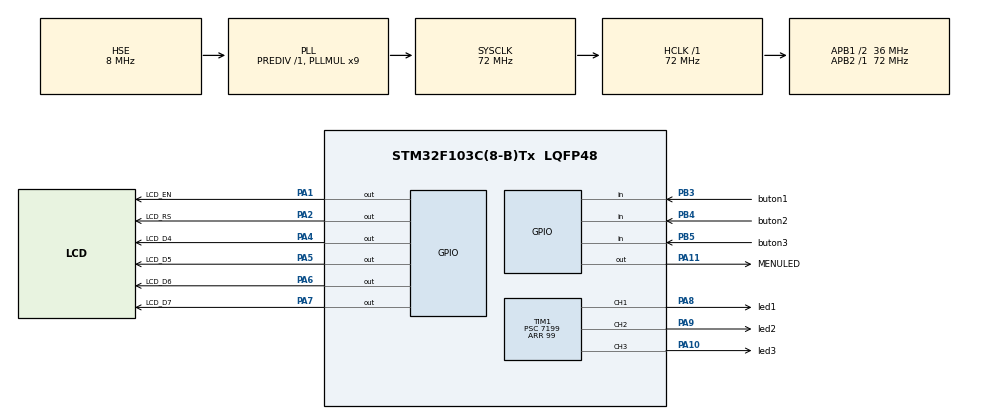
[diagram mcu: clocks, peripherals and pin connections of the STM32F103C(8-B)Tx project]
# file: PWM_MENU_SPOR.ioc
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Mcu.Family=STM32F1
Mcu.Name=STM32F103C(8-B)Tx
Mcu.Package=LQFP48
NVIC.PriorityGroup=NVIC_PRIORITYGROUP_4
PA1.GPIO_Label=LCD_EN
PA1.Signal=GPIO_Output
PA10.GPIO_Label=led3
PA10.Signal=S_TIM1_CH3
PA11.GPIO_Label=MENULED
PA11.Signal=GPIO_Output
PA13.Mode=Serial_Wire
PA13.Signal=SYS_JTMS-SWDIO
PA14.Mode=Serial_Wire
PA14.Signal=SYS_JTCK-SWCLK
PA2.GPIO_Label=LCD_RS
PA2.Signal=GPIO_Output
PA4.GPIO_Label=LCD_D4
PA4.Signal=GPIO_Output
PA5.GPIO_Label=LCD_D5
PA5.Signal=GPIO_Output
PA6.GPIO_Label=LCD_D6
PA6.Signal=GPIO_Output
PA7.GPIO_Label=LCD_D7
PA7.Signal=GPIO_Output
PA8.GPIO_Label=led1
PA8.Signal=S_TIM1_CH1
PA9.GPIO_Label=led2
PA9.Signal=S_TIM1_CH2
PB3.GPIO_Label=buton1
PB3.GPIO_PuPd=GPIO_PULLDOWN
PB3.Signal=GPIO_Input
PB4.GPIO_Label=buton2
PB4.GPIO_PuPd=GPIO_PULLDOWN
PB4.Signal=GPIO_Input
PB5.GPIO_Label=buton3
PB5.GPIO_PuPd=GPIO_PULLDOWN
PB5.Signal=GPIO_Input
PC14-OSC32_IN.Mode=LSE-External-Oscillator
PC14-OSC32_IN.Signal=RCC_OSC32_IN
PC15-OSC32_OUT.Mode=LSE-External-Oscillator
PC15-OSC32_OUT.Signal=RCC_OSC32_OUT
PD0-OSC_IN.Mode=HSE-External-Oscillator
PD0-OSC_IN.Signal=RCC_OSC_IN
PD1-OSC_OUT.Mode=HSE-External-Oscillator
PD1-OSC_OUT.Signal=RCC_OSC_OUT
ProjectManager.HeapSize=0x200
ProjectManager.StackSize=0x400
ProjectManager.TargetToolchain=STM32CubeIDE
RCC.AHBFreq_Value=72000000
RCC.APB1CLKDivider=RCC_HCLK_DIV2
RCC.APB1Freq_Value=36000000
RCC.APB1TimFreq_Value=72000000
RCC.APB2Freq_Value=72000000
RCC.APB2TimFreq_Value=72000000
RCC.HCLKFreq_Value=72000000
RCC.PLLMUL=RCC_PLL_MUL9
RCC.PLLSourceVirtual=RCC_PLLSOURCE_HSE
RCC.SYSCLKFreq_VALUE=72000000
RCC.SYSCLKSource=RCC_SYSCLKSOURCE_PLLCLK
RCC.USBFreq_Value=72000000
SH.S_TIM1_CH1.0=TIM1_CH1,PWM Generation1 CH1
SH.S_TIM1_CH2.0=TIM1_CH2,PWM Generation2 CH2
SH.S_TIM1_CH3.0=TIM1_CH3,PWM Generation3 CH3
TIM1.Channel-PWM\ Generation1\ CH1=TIM_CHANNEL_1
TIM1.Channel-PWM\ Generation2\ CH2=TIM_CHANNEL_2
TIM1.Channel-PWM\ Generation3\ CH3=TIM_CHANNEL_3
TIM1.Period=99
TIM1.Prescaler=7199
VP_TIM1_VS_ClockSourceINT.Mode=Internal
board=custom

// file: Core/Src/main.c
/* USER CODE BEGIN Header */
/**
  ******************************************************************************
  * @file           : main.c
  * @brief          : Main program body
  ******************************************************************************
  * @attention
  *
  * Copyright (c) 2023 STMicroelectronics.
  * All rights reserved.
  *
  * This software is licensed under terms that can be found in the LICENSE file
  * in the root directory of this software component.
  * If no LICENSE file comes with this software, it is provided AS-IS.
  *
  ******************************************************************************
  */
/* USER CODE END Header */
#include "main.h"

/* USER CODE BEGIN Includes */
#include "lcd.h"
#include "stdio.h"
#include "stdlib.h"
#include "string.h"

/* USER CODE END Includes */

/* USER CODE BEGIN PD */
float deger;
char line1[32];
/* USER CODE END PD */

TIM_HandleTypeDef htim1;

/* USER CODE BEGIN PV */
uint16_t parlaklik1;
uint16_t parlaklik2;
uint16_t parlaklik3;
uint16_t sayac1,sayac2,sayac3,sayac4;
/* USER CODE END PV */

void SystemClock_Config(void);
static void MX_GPIO_Init(void);
static void MX_TIM1_Init(void);

int main(void)
{

  /* MCU Configuration--------------------------------------------------------*/

  /* Reset of all peripherals, Initializes the Flash interface and the Systick. */
  HAL_Init();

  /* Configure the system clock */
  SystemClock_Config();

  /* Initialize all configured peripherals */
  MX_GPIO_Init();
  MX_TIM1_Init();
  /* USER CODE BEGIN 2 */
  lcd_init(_LCD_4BIT, _LCD_FONT_5x8, _LCD_2LINE);
  HAL_TIM_PWM_Start(&htim1,TIM_CHANNEL_1);
  HAL_TIM_PWM_Start(&htim1,TIM_CHANNEL_2);
  HAL_TIM_PWM_Start(&htim1,TIM_CHANNEL_3);

  /* USER CODE END 2 */

  /* Infinite loop */
  while (1)
  {

    /* USER CODE BEGIN 3 */
	  __HAL_TIM_SET_COMPARE(&htim1,TIM_CHANNEL_1,parlaklik1);
	  __HAL_TIM_SET_COMPARE(&htim1,TIM_CHANNEL_2,parlaklik2);
	  __HAL_TIM_SET_COMPARE(&htim1,TIM_CHANNEL_3,parlaklik3);
	  //AYARLAR
	  HAL_GPIO_WritePin(GPIOA, MENULED_Pin, GPIO_PIN_SET);
	  HAL_Delay(200);
	  HAL_GPIO_WritePin(GPIOA, MENULED_Pin, GPIO_PIN_RESET);
	  lcd_clear();
	  lcd_print(1,1,"      MENU");
	  HAL_Delay(500);
	  if(HAL_GPIO_ReadPin(GPIOB, buton2_Pin))
	  {
		          HAL_Delay(200);
		          sayac1=1;

	  }

	           while(sayac1==1)
	           {

		          lcd_clear();
		  		  lcd_print(1,1, "    AYARLAR");
		  		  lcd_print(2,1, " LED1 LED2 LED3 ");
                  HAL_Delay(500);
                  if(HAL_GPIO_ReadPin(GPIOB, buton2_Pin))
                  	  {
                  		          HAL_Delay(200);
                  		          sayac1=0;
                  	  }

		  		if(HAL_GPIO_ReadPin(GPIOB, buton3_Pin))
		  			  {
		  				     HAL_Delay(200);
		  				     sayac2++;
		  			  }

		  		if(HAL_GPIO_ReadPin(GPIOB, buton1_Pin))
		  			  {
		  				  	 HAL_Delay(200);
		  				  	 sayac2--;
		  			  }

		  		 while(sayac2 == 1)
		  		 {
		  					  		if(HAL_GPIO_ReadPin(GPIOB, buton3_Pin))
		  					  			  {
		  					  				     HAL_Delay(200);
		  					  				     sayac2++;
		  					  			  }

		  					  		if(HAL_GPIO_ReadPin(GPIOB, buton1_Pin))
		  					  			  {
		  					  				  	 HAL_Delay(200);
		  					  				  	 sayac2--;
		  					  			  }

		  			  HAL_Delay(200);
		  			  lcd_clear();
		  			  lcd_print(1,1, "    AYARLAR");
		  			  lcd_print(2,1, "     >LED1< ");
		  			  HAL_Delay(500);
		  			  if(HAL_GPIO_ReadPin(GPIOB, buton2_Pin))
		  			  {
		  				HAL_Delay(250);
		  				sayac3=1 ;
		  			  }

		  			  while(sayac3 ==1 )
		  			  {
		  				if(HAL_GPIO_ReadPin(GPIOB, buton3_Pin))
		  						  			  {
                         HAL_Delay(200);
                          parlaklik1++;
                          __HAL_TIM_SET_COMPARE(&htim1,TIM_CHANNEL_1,parlaklik1);
		  						  			  }

		  						  		if(HAL_GPIO_ReadPin(GPIOB, buton1_Pin))
		  						  				  			  {
		  						  				  				HAL_Delay(200);
		  						  				  				parlaklik1--;
		  						  				  			    __HAL_TIM_SET_COMPARE(&htim1,TIM_CHANNEL_1,parlaklik1);
		  						  				  			  }
		  						  	if(HAL_GPIO_ReadPin(GPIOB, buton2_Pin))
		  						  			  			  {
		  						  			  				HAL_Delay(250);
		  						  			  				sayac3=0;
		  						  			  				sayac2=0;
		  						  			  			  }

		  						  		  					  sprintf(line1,"SET= %d",parlaklik1);
		  						  		  					  lcd_clear();
		  						  		  					  lcd_print(1,1,line1);
		  						  		  					  lcd_print(2,1,"     P W M");
                                                              HAL_Delay(500);
		  			  }
		  		    }
		  		while(sayac2 == 2)
		  				  		 {
		  					  		if(HAL_GPIO_ReadPin(GPIOB, buton3_Pin))
		  					  			  {
		  					  				     HAL_Delay(200);
		  					  				     sayac2++;
		  					  			  }

		  					  		if(HAL_GPIO_ReadPin(GPIOB, buton1_Pin))
		  					  			  {
		  					  				  	 HAL_Delay(200);
		  					  				  	 sayac2--;
		  					  			  }

		  			                  HAL_Delay(200);
		  				  			  lcd_clear();
		  				  			  lcd_print(1,1, "    AYARLAR");
		  				  			  lcd_print(2,1, "     >LED2< ");
		  				  			  HAL_Delay(500);
		  				  			  if(HAL_GPIO_ReadPin(GPIOB, buton2_Pin))
		  				  			  {
		  				  				HAL_Delay(250);
		  				  				sayac3=1 ;
		  				  			  }

		  				  			  while(sayac3 ==1 )
		  				  			  {
		  				  				if(HAL_GPIO_ReadPin(GPIOB, buton3_Pin))
		  				  						  			  {
		  		                         HAL_Delay(200);
		  		                          parlaklik2++;
		  		                          __HAL_TIM_SET_COMPARE(&htim1,TIM_CHANNEL_2,parlaklik2);
		  				  						  			  }

		  				  						  		if(HAL_GPIO_ReadPin(GPIOB, buton1_Pin))
		  				  						  				  			  {
		  				  						  				  				HAL_Delay(200);
		  				  						  				  				parlaklik2--;
		  				  						  				  			    __HAL_TIM_SET_COMPARE(&htim1,TIM_CHANNEL_2,parlaklik2);
		  				  						  				  			  }
		  				  						  	if(HAL_GPIO_ReadPin(GPIOB, buton2_Pin))
		  				  						  			  			  {
		  				  						  			  				HAL_Delay(250);
		  				  						  			  				sayac3=0;
		  				  						  			  				sayac2=0;
		  				  						  			  			  }

		  				  						  		  					  sprintf(line1,"SET= %d",parlaklik2);
		  				  						  		  					  lcd_clear();
		  				  						  		  					  lcd_print(1,1,line1);
		  				  						  		  					  lcd_print(2,1,"     P W M");
		  		                                                              HAL_Delay(500);
		  				  			  }
		  				  		 }
		  		while(sayac2 == 3)
		  				  				  		 {
		  					  		if(HAL_GPIO_ReadPin(GPIOB, buton3_Pin))
		  					  			  {
		  					  				     HAL_Delay(200);
		  					  				     sayac2++;
		  					  			  }

		  					  		if(HAL_GPIO_ReadPin(GPIOB, buton1_Pin))
		  					  			  {
		  					  				  	 HAL_Delay(200);
		  					  				  	 sayac2--;
		  					  			  }

		  			                                  HAL_Delay(200);
		  				  				  			  lcd_clear();
		  				  				  			  lcd_print(1,1, "    AYARLAR");
		  				  				  			  lcd_print(2,1, "     >LED3< ");
		  				  				  			  HAL_Delay(500);
		  				  				  			  if(HAL_GPIO_ReadPin(GPIOB, buton2_Pin))
		  				  				  			  {
		  				  				  				HAL_Delay(250);
		  				  				  				sayac3=1 ;
		  				  				  			  }

		  				  				  			  while(sayac3 ==1 )
		  				  				  			  {
		  				  				  				if(HAL_GPIO_ReadPin(GPIOB, buton3_Pin))
		  				  				  						  			  {
		  				  		                         HAL_Delay(200);
		  				  		                          parlaklik3++;
		  				  		                          __HAL_TIM_SET_COMPARE(&htim1,TIM_CHANNEL_3,parlaklik3);
		  				  				  						  			  }

		  				  				  						  		if(HAL_GPIO_ReadPin(GPIOB, buton1_Pin))
		  				  				  						  				  			  {
		  				  				  						  				  				HAL_Delay(200);
		  				  				  						  				  				parlaklik3--;
		  				  				  						  				  			    __HAL_TIM_SET_COMPARE(&htim1,TIM_CHANNEL_3,parlaklik3);
		  				  				  						  				  			  }
		  				  				  						  	if(HAL_GPIO_ReadPin(GPIOB, buton2_Pin))
		  				  				  						  			  			  {
		  				  				  						  			  				HAL_Delay(250);
		  				  				  						  			  				sayac3=0;
		  				  				  						  			  				sayac2=0;
		  				  				  						  			  			  }
		  				  				  						  	                          sayac2=0;
		  				  				  						  		  					  sprintf(line1,"SET= %d",parlaklik3);
		  				  				  						  		  					  lcd_clear();
		  				  				  						  		  					  lcd_print(1,1,line1);
		  				  				  						  		  					  lcd_print(2,1,"     P W M");
		  				  		                                                              HAL_Delay(500);
		  				  				  			  }
		  				  				  		 }

	              }

  }

  /* USER CODE END 3 */
}

void SystemClock_Config(void)
{
  RCC_OscInitTypeDef RCC_OscInitStruct = {0};
  RCC_ClkInitTypeDef RCC_ClkInitStruct = {0};

  /** Initializes the RCC Oscillators according to the specified parameters
  * in the RCC_OscInitTypeDef structure.
  */
  RCC_OscInitStruct.OscillatorType = RCC_OSCILLATORTYPE_HSE;
  RCC_OscInitStruct.HSEState = RCC_HSE_ON;
  RCC_OscInitStruct.HSEPredivValue = RCC_HSE_PREDIV_DIV1;
  RCC_OscInitStruct.HSIState = RCC_HSI_ON;
  RCC_OscInitStruct.PLL.PLLState = RCC_PLL_ON;
  RCC_OscInitStruct.PLL.PLLSource = RCC_PLLSOURCE_HSE;
  RCC_OscInitStruct.PLL.PLLMUL = RCC_PLL_MUL9;
  if (HAL_RCC_OscConfig(&RCC_OscInitStruct) != HAL_OK)
  {
    Error_Handler();
  }

  /** Initializes the CPU, AHB and APB buses clocks
  */
  RCC_ClkInitStruct.ClockType = RCC_CLOCKTYPE_HCLK|RCC_CLOCKTYPE_SYSCLK
                              |RCC_CLOCKTYPE_PCLK1|RCC_CLOCKTYPE_PCLK2;
  RCC_ClkInitStruct.SYSCLKSource = RCC_SYSCLKSOURCE_PLLCLK;
  RCC_ClkInitStruct.AHBCLKDivider = RCC_SYSCLK_DIV1;
  RCC_ClkInitStruct.APB1CLKDivider = RCC_HCLK_DIV2;
  RCC_ClkInitStruct.APB2CLKDivider = RCC_HCLK_DIV1;

  if (HAL_RCC_ClockConfig(&RCC_ClkInitStruct, FLASH_LATENCY_2) != HAL_OK)
  {
    Error_Handler();
  }
}

static void MX_TIM1_Init(void)
{

  TIM_ClockConfigTypeDef sClockSourceConfig = {0};
  TIM_MasterConfigTypeDef sMasterConfig = {0};
  TIM_OC_InitTypeDef sConfigOC = {0};
  TIM_BreakDeadTimeConfigTypeDef sBreakDeadTimeConfig = {0};

  htim1.Instance = TIM1;
  htim1.Init.Prescaler = 7199;
  htim1.Init.CounterMode = TIM_COUNTERMODE_UP;
  htim1.Init.Period = 99;
  htim1.Init.ClockDivision = TIM_CLOCKDIVISION_DIV1;
  htim1.Init.RepetitionCounter = 0;
  htim1.Init.AutoReloadPreload = TIM_AUTORELOAD_PRELOAD_DISABLE;
  if (HAL_TIM_Base_Init(&htim1) != HAL_OK)
  {
    Error_Handler();
  }
  sClockSourceConfig.ClockSource = TIM_CLOCKSOURCE_INTERNAL;
  if (HAL_TIM_ConfigClockSource(&htim1, &sClockSourceConfig) != HAL_OK)
  {
    Error_Handler();
  }
  if (HAL_TIM_PWM_Init(&htim1) != HAL_OK)
  {
    Error_Handler();
  }
  sMasterConfig.MasterOutputTrigger = TIM_TRGO_RESET;
  sMasterConfig.MasterSlaveMode = TIM_MASTERSLAVEMODE_DISABLE;
  if (HAL_TIMEx_MasterConfigSynchronization(&htim1, &sMasterConfig) != HAL_OK)
  {
    Error_Handler();
  }
  sConfigOC.OCMode = TIM_OCMODE_PWM1;
  sConfigOC.Pulse = 0;
  sConfigOC.OCPolarity = TIM_OCPOLARITY_HIGH;
  sConfigOC.OCNPolarity = TIM_OCNPOLARITY_HIGH;
  sConfigOC.OCFastMode = TIM_OCFAST_DISABLE;
  sConfigOC.OCIdleState = TIM_OCIDLESTATE_RESET;
  sConfigOC.OCNIdleState = TIM_OCNIDLESTATE_RESET;
  if (HAL_TIM_PWM_ConfigChannel(&htim1, &sConfigOC, TIM_CHANNEL_1) != HAL_OK)
  {
    Error_Handler();
  }
  if (HAL_TIM_PWM_ConfigChannel(&htim1, &sConfigOC, TIM_CHANNEL_2) != HAL_OK)
  {
    Error_Handler();
  }
  if (HAL_TIM_PWM_ConfigChannel(&htim1, &sConfigOC, TIM_CHANNEL_3) != HAL_OK)
  {
    Error_Handler();
  }
  sBreakDeadTimeConfig.OffStateRunMode = TIM_OSSR_DISABLE;
  sBreakDeadTimeConfig.OffStateIDLEMode = TIM_OSSI_DISABLE;
  sBreakDeadTimeConfig.LockLevel = TIM_LOCKLEVEL_OFF;
  sBreakDeadTimeConfig.DeadTime = 0;
  sBreakDeadTimeConfig.BreakState = TIM_BREAK_DISABLE;
  sBreakDeadTimeConfig.BreakPolarity = TIM_BREAKPOLARITY_HIGH;
  sBreakDeadTimeConfig.AutomaticOutput = TIM_AUTOMATICOUTPUT_DISABLE;
  if (HAL_TIMEx_ConfigBreakDeadTime(&htim1, &sBreakDeadTimeConfig) != HAL_OK)
  {
    Error_Handler();
  }
  HAL_TIM_MspPostInit(&htim1);

}

static void MX_GPIO_Init(void)
{
  GPIO_InitTypeDef GPIO_InitStruct = {0};

  /* GPIO Ports Clock Enable */
  __HAL_RCC_GPIOC_CLK_ENABLE();
  __HAL_RCC_GPIOD_CLK_ENABLE();
  __HAL_RCC_GPIOA_CLK_ENABLE();
  __HAL_RCC_GPIOB_CLK_ENABLE();

  /*Configure GPIO pin Output Level */
  HAL_GPIO_WritePin(GPIOA, LCD_EN_Pin|LCD_RS_Pin|LCD_D4_Pin|LCD_D5_Pin
                          |LCD_D6_Pin|LCD_D7_Pin|MENULED_Pin, GPIO_PIN_RESET);

  /*Configure GPIO pins : LCD_EN_Pin LCD_RS_Pin LCD_D4_Pin LCD_D5_Pin
                           LCD_D6_Pin LCD_D7_Pin MENULED_Pin */
  GPIO_InitStruct.Pin = LCD_EN_Pin|LCD_RS_Pin|LCD_D4_Pin|LCD_D5_Pin
                          |LCD_D6_Pin|LCD_D7_Pin|MENULED_Pin;
  GPIO_InitStruct.Mode = GPIO_MODE_OUTPUT_PP;
  GPIO_InitStruct.Pull = GPIO_NOPULL;
  GPIO_InitStruct.Speed = GPIO_SPEED_FREQ_LOW;
  HAL_GPIO_Init(GPIOA, &GPIO_InitStruct);

  /*Configure GPIO pins : buton1_Pin buton2_Pin buton3_Pin */
  GPIO_InitStruct.Pin = buton1_Pin|buton2_Pin|buton3_Pin;
  GPIO_InitStruct.Mode = GPIO_MODE_INPUT;
  GPIO_InitStruct.Pull = GPIO_PULLDOWN;
  HAL_GPIO_Init(GPIOB, &GPIO_InitStruct);

}

void Error_Handler(void)
{
  __disable_irq();
  while (1)
  {
  }
}
